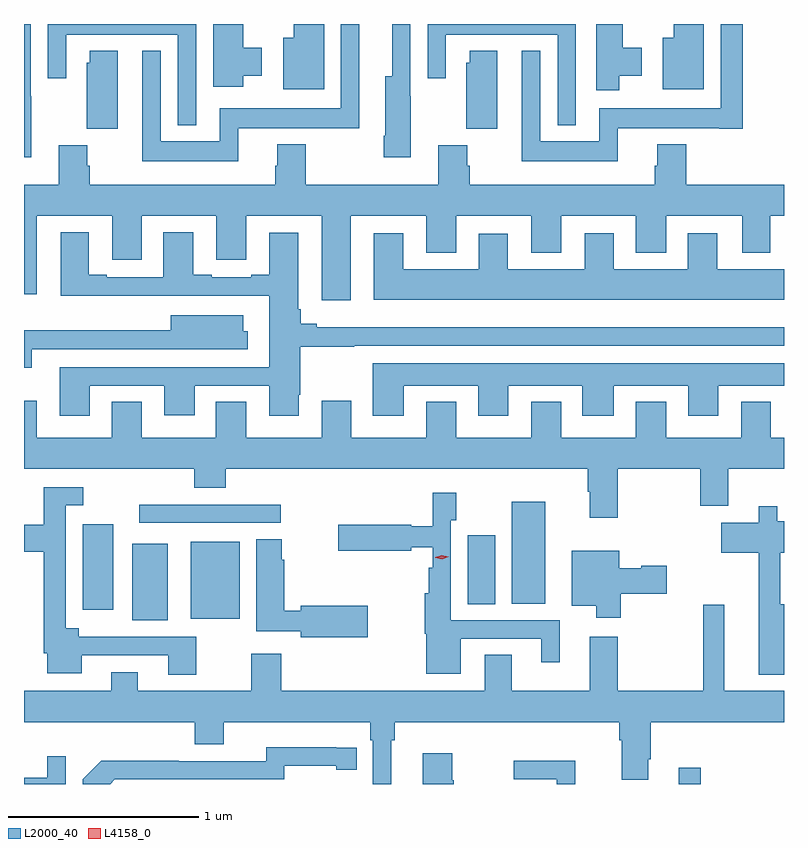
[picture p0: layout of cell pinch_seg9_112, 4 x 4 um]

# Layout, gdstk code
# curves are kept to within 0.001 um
import gdstk
lib = gdstk.Library(unit=1e-6, precision=1e-09)
def R(c, l, rs):  # rectangles x0, y0, x1, y1
    for r in rs: c.add(gdstk.rectangle(r[:2], r[2:], *l))
def P(c, l, *ps):  # polygons
    for p in ps: c.add(gdstk.Polygon(p, *l))
L2000_40 = (2000, 40)
L4158_0 = (4158, 0)

pinch_seg9_112 = lib.new_cell('pinch_seg9_112')
R(pinch_seg9_112, L2000_40, [(864.431,1236.054,864.548,1236.139), (861.554,1236.917,861.742,1237.318), (861.863,1236.923,862.12,1237.33), (861.293,1236.972,861.454,1237.42), (863.321,1237,863.464,1237.363), (863.552,1237.004,863.728,1237.54), (861.591,1237.428,862.336,1237.524)])
P(pinch_seg9_112, L2000_40, [(863.02,1239.674),(863.019,1239.674),(863.019,1240.054),(862.922,1240.054),(862.922,1239.778),(862.886,1239.778),(862.886,1239.466),(862.879,1239.466),(862.879,1239.354),(863.02,1239.354)],
  [(864.11,1239.506),(864.644,1239.506),(864.644,1239.504),(864.767,1239.504),(864.767,1240.054),(864.651,1240.054),(864.651,1239.61),(864.012,1239.61),(864.012,1239.436),(863.703,1239.436),(863.703,1239.913),(863.606,1239.913),(863.606,1239.332),(864.11,1239.332)],
  [(861.891,1240.054),(861.111,1240.054),(861.111,1239.768),(861.207,1239.768),(861.207,1239.998),(861.795,1239.998),(861.795,1239.521),(861.891,1239.521)],
  [(862.112,1239.506),(862.75,1239.506),(862.75,1240.054),(862.653,1240.054),(862.653,1239.61),(862.014,1239.61),(862.014,1239.436),(861.705,1239.436),(861.705,1239.913),(861.608,1239.913),(861.608,1239.332),(862.112,1239.332)],
  [(863.889,1240.054),(863.109,1240.054),(863.109,1239.768),(863.205,1239.768),(863.205,1239.998),(863.793,1239.998),(863.793,1239.521),(863.889,1239.521)],
  [(862.564,1240.054),(862.406,1240.054),(862.406,1239.982),(862.349,1239.982),(862.349,1239.71),(862.564,1239.71)],
  [(864.118,1239.782),(864.235,1239.782),(864.235,1239.93),(864.136,1239.93),(864.136,1240.054),(863.996,1240.054),(863.996,1239.705),(864.118,1239.705)],
  [(861.022,1239.674),(861.021,1239.674),(861.021,1240.054),(860.985,1240.054),(860.985,1239.354),(861.022,1239.354)],
  [(864.562,1240.054),(864.404,1240.054),(864.404,1239.982),(864.347,1239.982),(864.347,1239.71),(864.562,1239.71)],
  [(862.138,1239.782),(862.237,1239.782),(862.237,1239.93),(862.138,1239.93),(862.138,1240.054),(861.98,1240.054),(861.98,1239.723),(862.138,1239.723)],
  [(861.478,1239.913),(861.332,1239.913),(861.332,1239.849),(861.314,1239.849),(861.314,1239.502),(861.478,1239.502)],
  [(863.476,1239.913),(863.33,1239.913),(863.33,1239.849),(863.312,1239.849),(863.312,1239.502),(863.476,1239.502)],
  [(864.364,1239.044),(864.764,1239.044),(864.764,1238.85),(864.913,1238.85),(864.913,1239.044),(864.985,1239.044),(864.985,1239.208),(864.47,1239.208),(864.47,1239.421),(864.317,1239.421),(864.317,1239.309),(864.305,1239.309),(864.305,1239.208),(863.33,1239.208),(863.33,1239.308),(863.317,1239.308),(863.317,1239.417),(863.165,1239.417),(863.165,1239.208),(862.467,1239.208),(862.467,1239.421),(862.319,1239.421),(862.319,1239.309),(862.307,1239.309),(862.307,1239.208),(861.332,1239.208),(861.332,1239.308),(861.319,1239.308),(861.319,1239.417),(861.167,1239.417),(861.167,1239.208),(860.985,1239.208),(860.985,1238.631),(861.052,1238.631),(861.052,1239.044),(861.449,1239.044),(861.449,1238.814),(861.604,1238.814),(861.604,1239.044),(861.998,1239.044),(861.998,1238.814),(862.156,1238.814),(862.156,1239.044),(862.553,1239.044),(862.553,1238.601),(862.705,1238.601),(862.705,1239.044),(863.102,1239.044),(863.102,1238.85),(863.26,1238.85),(863.26,1239.044),(863.654,1239.044),(863.654,1238.85),(863.812,1238.85),(863.812,1239.044),(864.206,1239.044),(864.206,1238.85),(864.364,1238.85)],
  [(861.331,1238.151),(861.722,1238.151),(861.722,1237.995),(861.883,1237.995),(861.883,1238.151),(862.277,1238.151),(862.277,1237.992),(862.432,1237.992),(862.432,1238.104),(862.44,1238.104),(862.44,1238.356),(862.724,1238.356),(862.724,1238.361),(864.985,1238.361),(864.985,1238.458),(862.525,1238.458),(862.525,1238.477),(862.442,1238.477),(862.442,1238.554),(862.429,1238.554),(862.429,1238.956),(862.277,1238.956),(862.277,1238.734),(862.181,1238.734),(862.181,1238.721),(861.973,1238.721),(861.973,1238.734),(861.877,1238.734),(861.877,1238.959),(861.719,1238.959),(861.719,1238.721),(861.421,1238.721),(861.421,1238.734),(861.325,1238.734),(861.325,1238.959),(861.179,1238.959),(861.179,1238.624),(861.723,1238.624),(861.723,1238.625),(862.277,1238.625),(862.277,1238.247),(861.173,1238.247),(861.173,1237.992),(861.331,1237.992)],
  [(864.985,1238.764),(864.634,1238.764),(864.634,1238.953),(864.479,1238.953),(864.479,1238.764),(864.088,1238.764),(864.088,1238.953),(863.936,1238.953),(863.936,1238.764),(863.53,1238.764),(863.53,1238.95),(863.378,1238.95),(863.378,1238.764),(862.981,1238.764),(862.981,1238.953),(862.826,1238.953),(862.826,1238.603),(864.985,1238.603)],
  [(861.025,1238.343),(861.862,1238.343),(861.862,1238.342),(862.162,1238.342),(862.162,1238.436),(862.138,1238.436),(862.138,1238.521),(861.758,1238.521),(861.758,1238.441),(860.985,1238.441),(860.985,1238.244),(861.025,1238.244)],
  [(862.984,1238.15),(863.375,1238.15),(863.375,1237.992),(863.533,1237.992),(863.533,1238.15),(863.924,1238.15),(863.924,1237.992),(864.088,1237.992),(864.088,1238.15),(864.482,1238.15),(864.482,1237.992),(864.64,1237.992),(864.64,1238.15),(864.985,1238.15),(864.985,1238.269),(862.82,1238.269),(862.82,1237.992),(862.984,1237.992)],
  [(864.111,1237.712),(864.544,1237.712),(864.544,1237.518),(864.691,1237.518),(864.691,1237.712),(864.985,1237.712),(864.985,1237.876),(864.916,1237.876),(864.916,1238.065),(864.761,1238.065),(864.761,1237.876),(864.364,1237.876),(864.364,1238.065),(864.206,1238.065),(864.206,1237.876),(863.812,1237.876),(863.812,1238.065),(863.654,1238.065),(863.654,1237.876),(863.26,1237.876),(863.26,1238.065),(863.102,1238.065),(863.102,1237.876),(862.708,1237.876),(862.708,1238.071),(862.553,1238.071),(862.553,1237.876),(862.156,1237.876),(862.156,1238.066),(861.995,1238.066),(861.995,1237.876),(861.604,1237.876),(861.604,1238.066),(861.446,1238.066),(861.446,1237.876),(861.052,1237.876),(861.052,1238.071),(860.985,1238.071),(860.985,1237.712),(861.881,1237.712),(861.881,1237.613),(862.046,1237.613),(862.046,1237.712),(863.951,1237.712),(863.951,1237.592),(863.963,1237.592),(863.963,1237.455),(864.111,1237.455)],
  [(861.891,1236.828),(861.274,1236.828),(861.274,1236.874),(861.204,1236.874),(861.204,1237.521),(861.298,1237.521),(861.298,1237.617),(861.088,1237.617),(861.088,1237.419),(860.985,1237.419),(860.985,1237.277),(861.088,1237.277),(861.088,1236.742),(861.107,1236.742),(861.107,1236.638),(861.289,1236.638),(861.289,1236.732),(861.743,1236.732),(861.743,1236.63),(861.891,1236.63)],
  [(863.284,1236.819),(863.708,1236.819),(863.708,1236.696),(863.806,1236.696),(863.806,1236.915),(863.232,1236.915),(863.232,1237.443),(863.259,1237.443),(863.259,1237.588),(863.136,1237.588),(863.136,1237.411),(863.022,1237.411),(863.022,1237.419),(862.638,1237.419),(862.638,1237.282),(863.022,1237.282),(863.022,1237.3),(863.136,1237.3),(863.136,1237.193),(863.116,1237.193),(863.116,1237.057),(863.095,1237.057),(863.095,1236.846),(863.102,1236.846),(863.102,1236.635),(863.284,1236.635)],
  [(864.985,1237),(864.964,1237),(864.964,1237.271),(864.985,1237.271),(864.985,1237.437),(864.949,1237.437),(864.949,1237.516),(864.851,1237.516),(864.851,1237.429),(864.654,1237.429),(864.654,1237.271),(864.851,1237.271),(864.851,1236.629),(864.985,1236.629)],
  [(862.795,1236.993),(862.442,1236.993),(862.442,1236.967),(862.355,1236.967),(862.355,1237.235),(862.342,1237.235),(862.342,1237.343),(862.208,1237.343),(862.208,1236.858),(862.442,1236.858),(862.442,1236.827),(862.795,1236.827)],
  [(864.126,1237.055),(864.367,1237.055),(864.367,1237.202),(864.234,1237.202),(864.234,1237.189),(864.118,1237.189),(864.118,1237.282),(863.867,1237.282),(863.867,1236.992),(863.996,1236.992),(863.996,1236.93),(864.126,1236.93)],
  [(862.918,1236.284),(862.937,1236.284),(862.937,1236.38),(864.119,1236.38),(864.119,1236.284),(864.131,1236.284),(864.131,1236.076),(864.271,1236.076),(864.271,1236.184),(864.284,1236.184),(864.284,1236.38),(864.985,1236.38),(864.985,1236.544),(864.671,1236.544),(864.671,1236.997),(864.561,1236.997),(864.561,1236.544),(864.111,1236.544),(864.111,1236.829),(863.963,1236.829),(863.963,1236.544),(863.551,1236.544),(863.551,1236.734),(863.411,1236.734),(863.411,1236.544),(862.34,1236.544),(862.34,1236.739),(862.18,1236.739),(862.18,1236.544),(861.583,1236.544),(861.583,1236.643),(861.443,1236.643),(861.443,1236.544),(860.985,1236.544),(860.985,1236.38),(861.884,1236.38),(861.884,1236.263),(862.036,1236.263),(862.036,1236.38),(862.808,1236.38),(862.808,1236.284),(862.821,1236.284),(862.821,1236.054),(862.918,1236.054)],
  [(861.462,1236.078),(862.356,1236.078),(862.356,1236.15),(862.628,1236.15),(862.628,1236.13),(862.736,1236.13),(862.736,1236.246),(862.26,1236.247),(862.26,1236.174),(861.8,1236.174),(861.8,1236.176),(861.392,1236.176),(861.294,1236.078),(861.294,1236.054),(861.438,1236.054)],
  [(863.248,1236.075),(863.238,1236.075),(863.238,1236.217),(863.084,1236.217),(863.084,1236.054),(863.248,1236.054)],
  [(861.204,1236.199),(861.107,1236.199),(861.107,1236.087),(860.985,1236.087),(860.985,1236.054),(861.204,1236.054)],
  [(863.886,1236.176),(863.562,1236.176),(863.562,1236.078),(863.79,1236.078),(863.79,1236.054),(863.886,1236.054)])
P(pinch_seg9_112, L4158_0, [(863.185,1237.238),(863.149,1237.246),(863.149,1237.247),(863.149,1237.247),(863.184,1237.258),(863.219,1237.249),(863.22,1237.249),(863.219,1237.249)])

lib.write_gds('pinch_seg9_112.gds')
